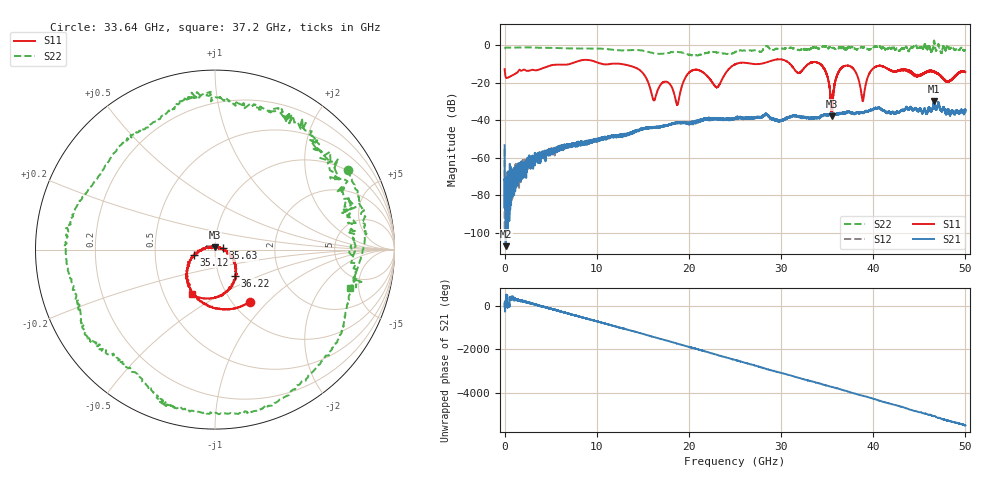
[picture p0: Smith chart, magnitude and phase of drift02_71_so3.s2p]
!Created with skrf (http://scikit-rf.org).
# Hz S RI R 50.0
!freq ReS11 ImS11 ReS21 ImS21 ReS12 ImS12 ReS22 ImS22
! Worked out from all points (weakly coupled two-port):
!   10001 points, 300 kHz to 50 GHz, reference 50 ohm
!   highest |S21| = -30.03 dB at 46.58 GHz (marker M1); lowest = -107.0 dB at 120.3 MHz (marker M2)
!   lowest |S11| = -38.0 dB at 35.48 GHz (marker M3), VSWR 1.03, Z = 49.8 + j1.23 ohm
!   |S11| at or under -10 dB: start of sweep to 7.176 GHz; 12.35 GHz to 25.18 GHz (12.84 GHz wide, 68.4 % of centre); 34.21 GHz to end of sweep (the widest 3 of 12)
!   |S22| runs from -5.7 to 2.3 dB; largest |S21 - S12| = 0.0031
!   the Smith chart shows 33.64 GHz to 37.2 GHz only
!   S11 on the Smith chart (normalised r, x): 33.64 GHz: 1.20, -0.80; 35.12 GHz: 0.79, -0.04; 35.63 GHz: 1.10, +0.02; 36.22 GHz: 1.20, -0.36; 37.2 GHz: 0.69, -0.37
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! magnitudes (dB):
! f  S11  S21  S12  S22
! 300 kHz  -12.9  -53.4  -55.5  -2.1
! 120.3 MHz  -17.1  -107.0  -81.9  -1.5
! 8.335 GHz  -8.2  -51.3  -51.8  -1.9
! 14.02 GHz  -11.7  -46.5  -46.4  -2.8
! 16.67 GHz  -23.4  -43.9  -43.8  -4.7
! 17.72 GHz  -19.9  -42.6  -42.7  -4.3
! 18.74 GHz  -31.9  -41.6  -41.4  -3.7
! 20.23 GHz  -13.9  -41.7  -41.7  -5.4
! 23.04 GHz  -22.6  -39.2  -39.5  -4.1
! 25 GHz  -10.4  -39.4  -39.3  -3.9
! 33.34 GHz  -9.3  -38.5  -38.5  -1.6
! 33.64 GHz  -9.1  -38.5  -38.8  -1.3
! 35.12 GHz  -18.4  -37.1  -37.4  -1.8
! 35.48 GHz  -38.0  -36.7  -36.7  -1.8
! 35.63 GHz  -26.7  -36.8  -36.7  -1.6
! 36.22 GHz  -14.7  -36.7  -36.6  -1.9
! 37.2 GHz  -11.0  -35.6  -35.9  -2.2
! 38.86 GHz  -29.9  -35.9  -36.0  -1.4
! 39.94 GHz  -12.8  -34.3  -34.6  -2.0
! 41.67 GHz  -13.0  -35.8  -35.7  -1.8
! 46.58 GHz  -14.2  -30.0  -30.5  1.8
! 50 GHz  -14.4  -34.5  -34.3  -2.8
